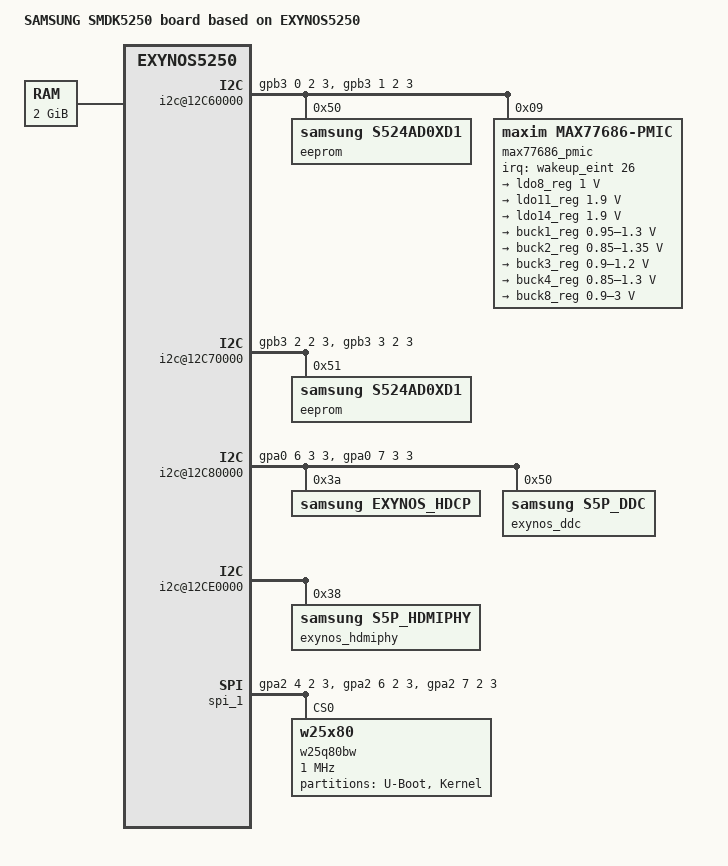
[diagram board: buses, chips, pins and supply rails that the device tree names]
/*
 * SAMSUNG SMDK5250 board device tree source
 *
 * Copyright (c) 2012 Samsung Electronics Co., Ltd.
 *		http://www.samsung.com
 *
 * This program is free software; you can redistribute it and/or modify
 * it under the terms of the GNU General Public License version 2 as
 * published by the Free Software Foundation.
*/

/dts-v1/;
/include/ "exynos5250.dtsi"

/ {
	model = "SAMSUNG SMDK5250 board based on EXYNOS5250";
	compatible = "samsung,smdk5250", "samsung,exynos5250";

	memory {
		reg = <0x40000000 0x80000000>;
	};

	chosen {
		bootargs = "root=/dev/ram0 rw ramdisk=8192 initrd=0x41000000,8M console=ttySAC3,115200 init=/linuxrc";
	};

	sromc-bus {
		lan9215@1,0 {
			compatible = "smsc,lan9215", "smsc,lan9115";
			reg = <1 0 0x20000>;
			interrupts = <5 0>;
			interrupt-parent = <&wakeup_eint>;
			phy-mode = "mii";
			smsc,irq-push-pull;
			smsc,force-internal-phy;
		};
	};

	i2c@12C60000 {
		#address-cells = <1>;
		#size-cells = <0>;
		samsung,i2c-sda-delay = <100>;
		samsung,i2c-max-bus-freq = <378000>;
		gpios = <&gpb3 0 2 3 0>,
			<&gpb3 1 2 3 0>;

		eeprom@50 {
			compatible = "samsung,s524ad0xd1";
			reg = <0x50>;
		};

		max77686_pmic@9 {
			compatible = "maxim,max77686-pmic";
			interrupt-parent = <&wakeup_eint>;
			interrupts = <26 0>;
			reg = <0x9>;

			max77686,buck_ramp_delay = <1>;		/* default */

			voltage-regulators {
				ldo8_reg: LDO8 {
					regulator-name = "vdd_ldo8";
					regulator-min-microvolt = <1000000>;
					regulator-max-microvolt = <1000000>;
					regulator-always-on;
					reg_op_mode = <1>; /* Standby Mode */
				};

				ldo11_reg: LDO11 {
					regulator-name = "vdd_ldo11";
					regulator-min-microvolt = <1900000>;
					regulator-max-microvolt = <1900000>;
					regulator-always-on;
					reg_op_mode = <3>; /* Normal Mode */
				};

				ldo14_reg: LDO14 {
					regulator-name = "vdd_ldo14";
					regulator-min-microvolt = <1900000>;
					regulator-max-microvolt = <1900000>;
					regulator-always-on;
					reg_op_mode = <3>; /* Normal Mode */
				};

				buck1_reg: BUCK1 {
					regulator-name = "vdd_mif";
					regulator-min-microvolt = <950000>;
					regulator-max-microvolt = <1300000>;
					regulator-always-on;
					regulator-boot-on;
					reg_op_mode = <3>; /* Normal Mode */
				};

				buck2_reg: BUCK2 {
					regulator-name = "vdd_arm";
					regulator-min-microvolt = <850000>;
					regulator-max-microvolt = <1350000>;
					regulator-always-on;
					regulator-boot-on;
					reg_op_mode = <3>; /* Normal Mode */
				};

				buck3_reg: BUCK3 {
					regulator-name = "vdd_int";
					regulator-min-microvolt = <900000>;
					regulator-max-microvolt = <1200000>;
					regulator-always-on;
					regulator-boot-on;
					reg_op_mode = <3>; /* Normal Mode */
				};

				buck4_reg: BUCK4 {
					regulator-name = "vdd_g3d";
					regulator-min-microvolt = <850000>;
					regulator-max-microvolt = <1300000>;
					regulator-boot-on;
					reg_op_mode = <3>; /* Normal Mode */
				};

				buck8_reg: BUCK8 {
					regulator-name = "vdd_ummc";
					regulator-min-microvolt = <900000>;
					regulator-max-microvolt = <3000000>;
					regulator-always-on;
					regulator-boot-on;
					reg_op_mode = <3>;
				};
			};
		};
	};

	i2c@12C70000 {
		#address-cells = <1>;
		#size-cells = <0>;
		samsung,i2c-sda-delay = <100>;
		samsung,i2c-max-bus-freq = <66000>;
		gpios = <&gpb3 2 2 3 0>,
			<&gpb3 3 2 3 0>;

		eeprom@51 {
			compatible = "samsung,s524ad0xd1";
			reg = <0x51>;
		};
	};

	i2c@12C80000 {
		#address-cells = <1>;
		#size-cells = <0>;
		samsung,i2c-sda-delay = <100>;
		samsung,i2c-max-bus-freq = <66000>;
		gpios = <&gpa0 6 3 3 0>,
			<&gpa0 7 3 3 0>;

		exynos_hdcp@3a {
			compatible = "samsung,exynos_hdcp";
			reg = <0x3a>;
		};

		exynos_ddc@50 {
			compatible = "samsung,s5p_ddc";
			reg = <0x50>;
		};
	};

	i2c@12C90000 {
		status = "disabled";
	};

	i2c@12CA0000 {
		status = "disabled";
	};

	i2c@12CB0000 {
		status = "disabled";
	};

	i2c@12CC0000 {
		status = "disabled";
	};

	i2c@12CD0000 {
		status = "disabled";
	};

	dwmmc0@12200000 {
		supports-highspeed;
		card-detection-broken;
		no-write-protect;
		fifo-depth = <0x80>;
		card-detect-delay = <200>;
		samsung,dw-mshc-sdr-timing = <2 3 3>;
		samsung,dw-mshc-ddr-timing = <1 2 3>;

		slot0 {
			bus-width = <8>;
			cd-gpios = <&gpc0 2 2 3 3>;
			gpios = <&gpc0 0 2 0 3>, <&gpc0 1 2 0 3>,
				<&gpc1 0 2 3 3>, <&gpc1 1 2 3 3>,
				<&gpc1 2 2 3 3>, <&gpc1 3 2 3 3>,
				<&gpc0 3 2 3 3>, <&gpc0 4 2 3 3>,
				<&gpc0 5 2 3 3>, <&gpc0 6 2 3 3>;
		};
	};

	dwmmc1@12210000 {
		status = "disabled";
	};

	dwmmc2@12220000 {
		card-detection-broken;
		no-write-protect;
		fifo-depth = <0x80>;
		card-detect-delay = <200>;
		samsung,dw-mshc-sdr-timing = <2 3 3>;
		samsung,dw-mshc-ddr-timing = <1 2 3>;

		slot0 {
			bus-width = <4>;
			cd-gpios = <&gpc3 2 2 3 3>;
			gpios = <&gpc3 0 2 0 3>, <&gpc3 1 2 0 3>,
				<&gpc3 3 2 3 3>, <&gpc3 4 2 3 3>,
				<&gpc3 5 2 3 3>, <&gpc3 6 2 3 3>,
				<&gpc4 3 3 3 3>, <&gpc4 3 3 3 3>,
				<&gpc4 5 3 3 3>, <&gpc4 6 3 3 3>;
		};
	};

	dwmmc3@12230000 {
		status = "disabled";
	};

	i2c@12CE0000 {
		#address-cells = <1>;
		#size-cells = <0>;
		samsung,i2c-sda-delay = <100>;
		samsung,i2c-max-bus-freq = <66000>;

		exynos_hdmiphy@38 {
			compatible = "samsung,s5p_hdmiphy";
			reg = <0x38>;
		};
	};

	spi_0: spi@12d20000 {
		status = "disabled";
	};

	spi_1: spi@12d30000 {
		gpios = <&gpa2 4 2 3 0>,
			<&gpa2 6 2 3 0>,
			<&gpa2 7 2 3 0>;

		w25q80bw@0 {
			#address-cells = <1>;
			#size-cells = <1>;
			compatible = "w25x80";
			reg = <0>;
			spi-max-frequency = <1000000>;

			controller-data {
				cs-gpio = <&gpa2 5 1 0 3>;
				samsung,spi-feedback-delay = <0>;
			};

			partition@0 {
				label = "U-Boot";
				reg = <0x0 0x40000>;
				read-only;
			};

			partition@40000 {
				label = "Kernel";
				reg = <0x40000 0xc0000>;
			};
		};
	};

	spi_2: spi@12d40000 {
		status = "disabled";
	};

	display-port-controller {
		status = "disabled";
	};
};
